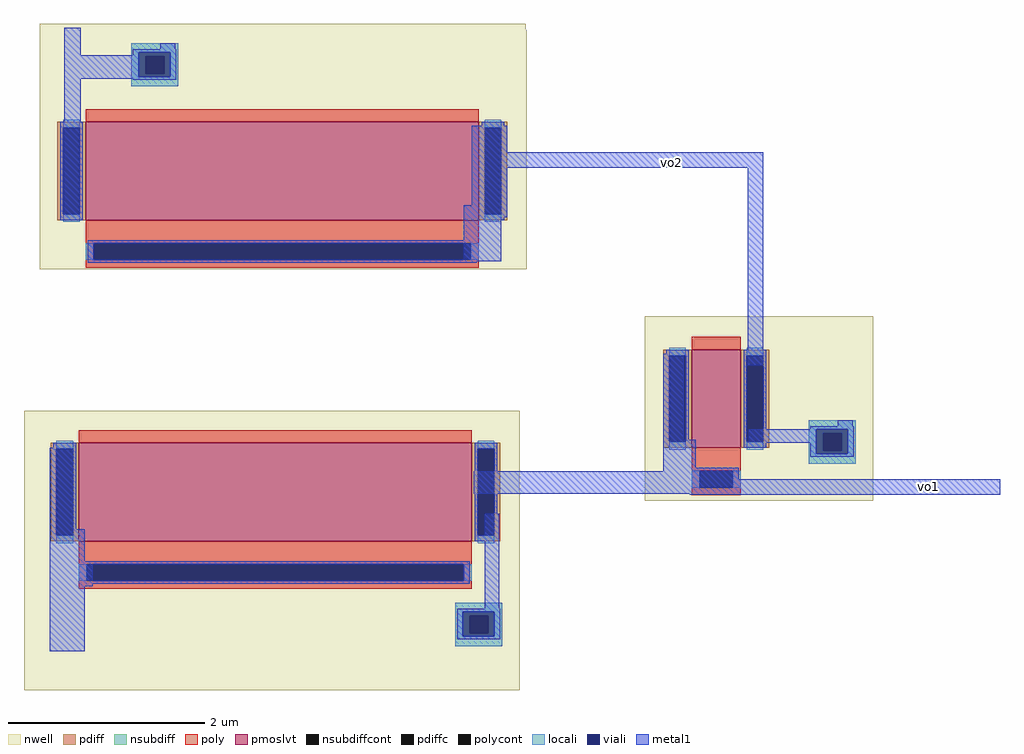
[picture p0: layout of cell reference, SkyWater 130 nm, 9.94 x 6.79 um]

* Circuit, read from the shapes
.subckt reference vo1 vo2
XM1 vo1 n1 n1 vo1 sky130_fd_pr__pfet_01v8_lvt w=1 l=4
XM2 vo2 vo2 n2 n2 sky130_fd_pr__pfet_01v8_lvt w=1 l=4
XM3 vo2 vo1 vo1 vo2 sky130_fd_pr__pfet_01v8_lvt w=1 l=0.5
.ends

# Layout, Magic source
magic
tech sky130A
<< nwell >>
rect 0 244 495 250
rect 0 0 496 244
rect -16 -429 489 -144
rect 616 -236 849 -48
<< nsubdiff >>
rect 93 217 141 230
rect 93 199 108 217
rect 127 199 141 217
rect 93 186 141 199
rect 783 -167 831 -154
rect 783 -185 798 -167
rect 817 -185 831 -167
rect 783 -198 831 -185
rect 423 -353 471 -340
rect 423 -371 438 -353
rect 457 -371 471 -353
rect 423 -384 471 -371
<< nsubdiffcont >>
rect 108 199 127 217
rect 798 -185 817 -167
rect 438 -371 457 -353
<< locali >>
rect 93 221 141 230
rect 93 196 101 221
rect 133 196 141 221
rect 93 186 141 196
rect 783 -163 831 -154
rect 783 -188 791 -163
rect 823 -188 831 -163
rect 783 -198 831 -188
rect 423 -349 471 -340
rect 423 -374 431 -349
rect 463 -374 471 -349
rect 423 -384 471 -374
<< viali >>
rect 101 217 133 221
rect 101 199 108 217
rect 108 199 127 217
rect 127 199 133 217
rect 101 196 133 199
rect 791 -167 823 -163
rect 791 -185 798 -167
rect 798 -185 817 -167
rect 817 -185 823 -167
rect 791 -188 823 -185
rect 431 -353 463 -349
rect 431 -371 438 -353
rect 438 -371 457 -353
rect 457 -371 463 -353
rect 431 -374 463 -371
<< metal1 >>
rect 25 218 42 246
rect 123 224 138 230
rect 95 221 139 224
rect 95 218 101 221
rect 25 196 101 218
rect 133 196 139 221
rect 25 194 139 196
rect 25 55 42 194
rect 95 193 139 194
rect 440 119 476 146
rect 440 103 737 119
rect 440 65 476 103
rect 432 53 476 65
rect 432 8 470 53
rect 635 -174 656 -86
rect 721 -98 737 103
rect 813 -160 828 -154
rect 785 -163 829 -160
rect 10 -265 35 -182
rect 635 -206 668 -174
rect 722 -177 791 -163
rect 785 -188 791 -177
rect 823 -188 829 -163
rect 785 -191 829 -188
rect 442 -214 706 -206
rect 442 -229 978 -214
rect 662 -230 978 -229
rect 10 -300 46 -265
rect 10 -323 54 -300
rect 10 -389 46 -323
rect 453 -346 468 -249
rect 425 -349 469 -346
rect 425 -374 431 -349
rect 463 -374 469 -349
rect 425 -377 469 -374
use sky130_fd_pr__pfet_01v8_lvt_46RJ2R  sky130_fd_pr__pfet_01v8_lvt_46RJ2R_0
transform 1 0 247 0 1 82
box -247 -82 247 99
use sky130_fd_pr__pfet_01v8_lvt_46RJ2R  sky130_fd_pr__pfet_01v8_lvt_46RJ2R_1
transform 1 0 240 0 1 -245
box -247 -82 247 99
use sky130_fd_pr__pfet_01v8_lvt_T5G9WD  sky130_fd_pr__pfet_01v8_lvt_T5G9WD_0
transform 1 0 689 0 1 -150
box -72 -82 72 99
<< labels >>
rlabel metal1 905 -221 905 -221 1 vo1
port 3 n
rlabel metal1 643 109 643 109 1 vo2
port 4 n
<< end >>

# cell sky130_fd_pr__pfet_01v8_lvt_46RJ2R: kit device sky130_fd_pr__pfet_01v8_lvt, w 1 l 4 m 1 nf 1 diffcov 100 polycov 100 guard 0 glc 0 grc 0 gtc 0 gbc 0 tbcov 100 rlcov 100 topc 0 botc 1 poverlap 0 doverlap 1 lmin 0.35 wmin 0.42 compatible {sky130_fd_pr__pfet_01v8 sky130_fd_pr__pfet_01v8_lvt sky130_fd_pr__pfet_01v8_hvt sky130_fd_pr__pfet_g5v0d10v5} full_metal 0 viasrc 100 viadrn 100 viagate 100 viagb 0 viagr 0 viagl 0 viagt 0

# cell sky130_fd_pr__pfet_01v8_lvt_T5G9WD: kit device sky130_fd_pr__pfet_01v8_lvt, w 1 l 0.5 m 1 nf 1 diffcov 100 polycov 100 guard 0 glc 0 grc 0 gtc 0 gbc 0 tbcov 100 rlcov 100 topc 0 botc 1 poverlap 0 doverlap 1 lmin 0.35 wmin 0.42 compatible {sky130_fd_pr__pfet_01v8 sky130_fd_pr__pfet_01v8_lvt sky130_fd_pr__pfet_01v8_hvt sky130_fd_pr__pfet_g5v0d10v5} full_metal 0 viasrc 100 viadrn 100 viagate 100 viagb 0 viagr 0 viagl 0 viagt 0
